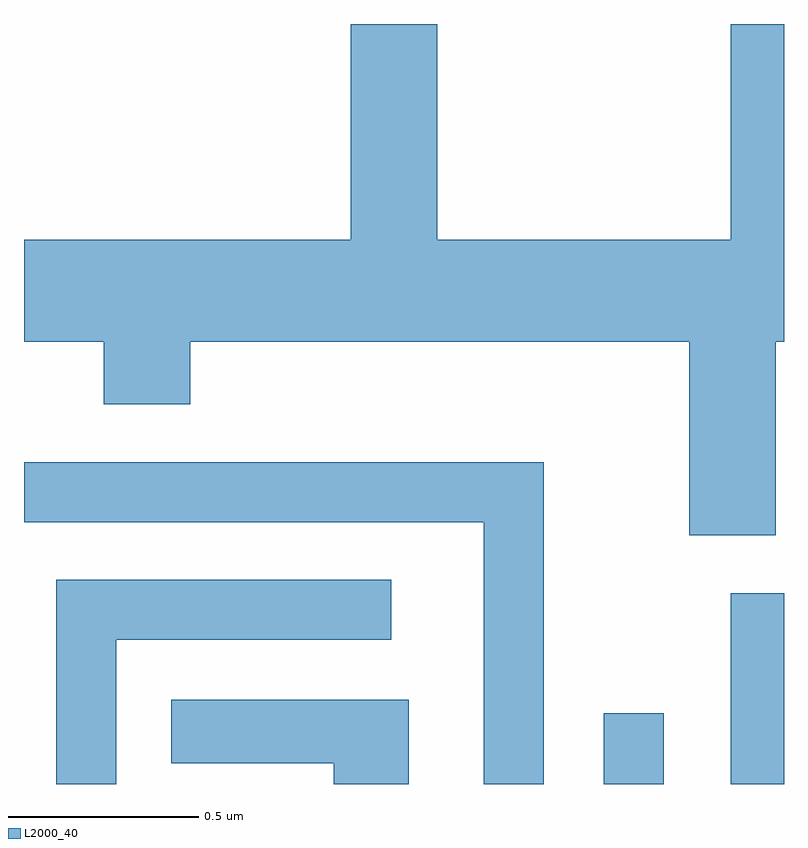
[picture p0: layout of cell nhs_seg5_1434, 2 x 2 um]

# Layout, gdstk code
import gdstk
lib = gdstk.Library(unit=1e-6, precision=1e-09)
def R(c, l, rs):  # rectangles x0, y0, x1, y1
    for r in rs: c.add(gdstk.rectangle(r[:2], r[2:], *l))
def P(c, l, *ps):  # polygons
    for p in ps: c.add(gdstk.Polygon(p, *l))
L2000_40 = (2000, 40)

nhs_seg5_1434 = lib.new_cell('nhs_seg5_1434')
R(nhs_seg5_1434, L2000_40, [(197.136,1460.072,197.294,1460.258), (197.471,1460.072,197.611,1460.574)])
P(nhs_seg5_1434, L2000_40, [(197.589,1461.236),(197.611,1461.236),(197.611,1462.072),(197.471,1462.072),(197.471,1461.504),(196.699,1461.504),(196.699,1462.072),(196.471,1462.072),(196.471,1461.504),(195.611,1461.504),(195.611,1461.236),(195.821,1461.236),(195.821,1461.071),(196.049,1461.071),(196.049,1461.236),(197.361,1461.236),(197.361,1460.726),(197.589,1460.726)],
  [(196.979,1460.919),(195.611,1460.919),(195.611,1460.761),(196.821,1460.761),(196.821,1460.072),(196.979,1460.072)],
  [(195.854,1460.451),(196.578,1460.451),(196.578,1460.609),(195.696,1460.609),(195.696,1460.072),(195.854,1460.072)],
  [(196.624,1460.294),(195.998,1460.294),(195.998,1460.126),(196.426,1460.126),(196.426,1460.072),(196.624,1460.072)])

lib.write_gds('nhs_seg5_1434.gds')
